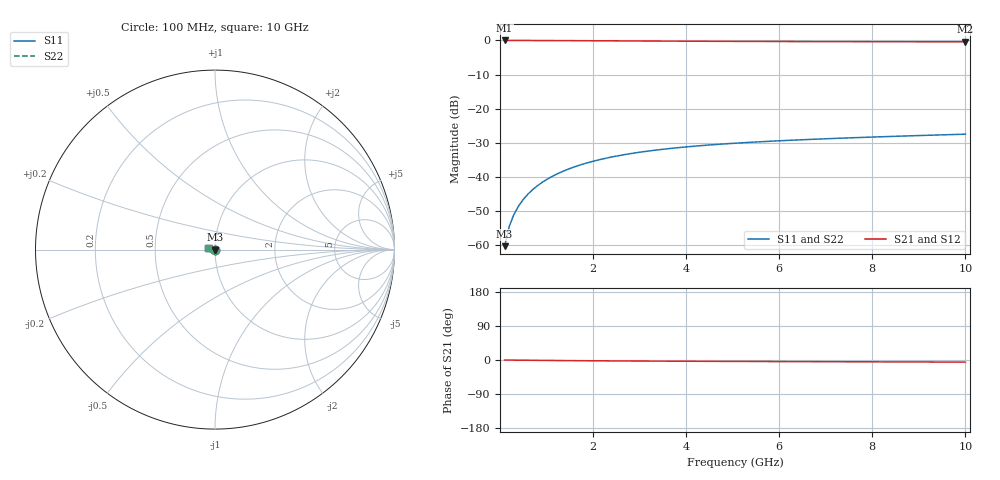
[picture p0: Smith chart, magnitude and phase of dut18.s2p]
! Touchstone file exported from HFSS 2024.1.0
!  File:  C:/UserFiles/LocalFiles/RDL_TSV_Batchsim/temp_TSV1_18_1779368751.aedt
!  Generated:  09:12:00 PM May 21, 2026
!  Design:  TSV1
!  Project:  temp_TSV1_18_1779368751
!  Setup:  Setup1
!  Solution:  Sweep
! Variables:
!  dtsv = 7.4um
!  hbump = 3um
!  htsv = 86.7um
!  lrdl = 252.1521522um
!  p = 40
!  p1 = 45.8um
!  t = 500um
!  trdl = 3um
!  wrdl = 24.89489489um
# GHz S MA R 50.000000
! Terminal data exported
! Port[1] = TSV22_T1
! Port[2] = TSV22_T2
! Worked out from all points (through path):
!   100 points, 100 MHz to 10 GHz, reference 50 ohm
!   highest |S21| = 0.00 dB at 100 MHz (marker M1); lowest = -0.4 dB at 10 GHz (marker M2)
!   lowest |S11| = -60.3 dB at 100 MHz (marker M3), VSWR 1.00, Z = 50 - j0.0938 ohm
!   |S11| at or under -10 dB: start of sweep to end of sweep
!   |S22| runs from -60.3 to -27.5 dB; largest |S21 - S12| = 2.3e-15
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0.1  0.0009697 -75.2  0.9997 -0.1  0.9997 -0.1  0.0009697 -75.2
! Gamma 0 0 0 0
! Port Impedance 50 0 50 0
0.2  0.001894 -85.0  0.9996 -0.2  0.9996 -0.2  0.001894 -85.0
0.3  0.002826 -89.6  0.9994 -0.3  0.9994 -0.3  0.002826 -89.6
0.4  0.003756 -92.9  0.9992 -0.5  0.9992 -0.5  0.003756 -92.9
0.5  0.00468 -95.5  0.9989 -0.6  0.9989 -0.6  0.00468 -95.5
0.6  0.005596 -97.9  0.9986 -0.7  0.9986 -0.7  0.005596 -97.9
0.7  0.006503 -100.1  0.9982 -0.8  0.9982 -0.8  0.006503 -100.1
0.8  0.0074 -102.2  0.9978 -0.9  0.9978 -0.9  0.0074 -102.2
0.9  0.008284 -104.1  0.9973 -1.0  0.9973 -1.0  0.008284 -104.1
1.1  0.01001 -107.9  0.9963 -1.2  0.9963 -1.2  0.01001 -107.9
1.4  0.01249 -113.3  0.9944 -1.5  0.9944 -1.5  0.01249 -113.3
1.6  0.01406 -116.7  0.993 -1.7  0.993 -1.7  0.01406 -116.7
1.8  0.01556 -120.0  0.9915 -1.9  0.9915 -1.9  0.01556 -120.0
2.1  0.01766 -124.7  0.9892 -2.1  0.9892 -2.1  0.01766 -124.7
2.5  0.02022 -130.6  0.9861 -2.4  0.9861 -2.4  0.02022 -130.6
2.9  0.0225 -136.1  0.983 -2.7  0.983 -2.7  0.0225 -136.1
3.4  0.025 -142.4  0.9793 -3.0  0.9793 -3.0  0.025 -142.4
4.2  0.02835 -151.4  0.9741 -3.4  0.9741 -3.4  0.02835 -151.4
5.1  0.03138 -160.1  0.9693 -3.7  0.9693 -3.7  0.03138 -160.1
6.7  0.0356 -173.0  0.9629 -4.3  0.9629 -4.3  0.0356 -173.0
8.4  0.03925 176.0  0.9583 -5.0  0.9583 -5.0  0.03925 176.0
10  0.04236 167.3  0.9552 -5.6  0.9552 -5.6  0.04236 167.3
